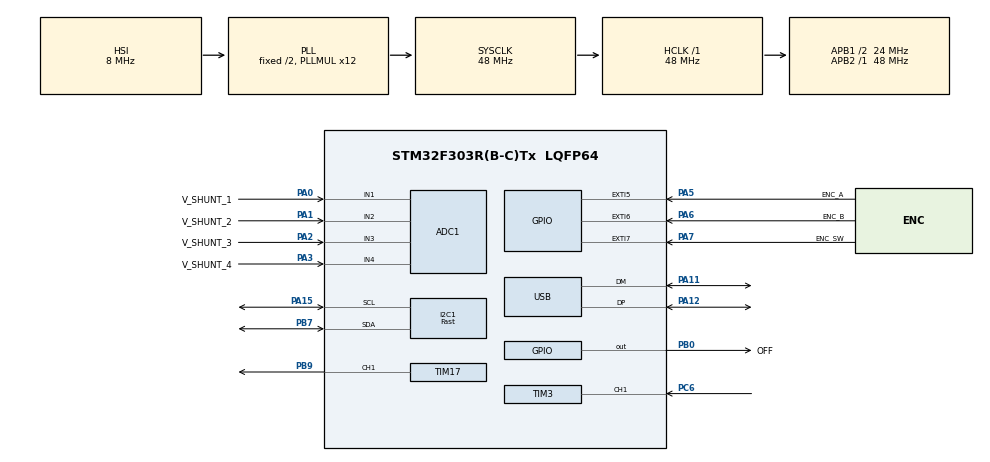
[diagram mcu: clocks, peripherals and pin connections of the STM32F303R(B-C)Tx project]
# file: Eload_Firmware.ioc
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ADC1.Channel-0\#ChannelRegularConversion=ADC_CHANNEL_1
ADC1.Channel-1\#ChannelRegularConversion=ADC_CHANNEL_2
ADC1.Channel-2\#ChannelRegularConversion=ADC_CHANNEL_3
ADC1.Channel-3\#ChannelRegularConversion=ADC_CHANNEL_4
ADC1.ExternalTrigConv=ADC_EXTERNALTRIGCONV_T6_TRGO
ADC1.NbrOfConversion=4
ADC1.NbrOfConversionFlag=1
ADC1.Offset-0\#ChannelRegularConversion=0
ADC1.Offset-1\#ChannelRegularConversion=0
ADC1.Offset-2\#ChannelRegularConversion=0
ADC1.Offset-3\#ChannelRegularConversion=0
ADC1.OffsetNumber-0\#ChannelRegularConversion=ADC_OFFSET_NONE
ADC1.OffsetNumber-1\#ChannelRegularConversion=ADC_OFFSET_NONE
ADC1.OffsetNumber-2\#ChannelRegularConversion=ADC_OFFSET_NONE
ADC1.OffsetNumber-3\#ChannelRegularConversion=ADC_OFFSET_NONE
ADC1.Rank-0\#ChannelRegularConversion=1
ADC1.Rank-1\#ChannelRegularConversion=2
ADC1.Rank-2\#ChannelRegularConversion=3
ADC1.Rank-3\#ChannelRegularConversion=4
ADC1.SamplingTime-0\#ChannelRegularConversion=ADC_SAMPLETIME_181CYCLES_5
ADC1.SamplingTime-1\#ChannelRegularConversion=ADC_SAMPLETIME_181CYCLES_5
ADC1.SamplingTime-2\#ChannelRegularConversion=ADC_SAMPLETIME_181CYCLES_5
ADC1.SamplingTime-3\#ChannelRegularConversion=ADC_SAMPLETIME_181CYCLES_5
ADC1.SamplingTimeOPAMP-1\#ChannelRegularConversion=ADC_SAMPLETIME_19CYCLES_5
ADC1.SamplingTimeOPAMP-2\#ChannelRegularConversion=ADC_SAMPLETIME_19CYCLES_5
ADC1.SamplingTimeOPAMP-3\#ChannelRegularConversion=ADC_SAMPLETIME_19CYCLES_5
ADC1.master=1
Dma.ADC1.0.Direction=DMA_PERIPH_TO_MEMORY
Dma.ADC1.0.Instance=DMA1_Channel1
Dma.ADC1.0.MemDataAlignment=DMA_MDATAALIGN_HALFWORD
Dma.ADC1.0.MemInc=DMA_MINC_ENABLE
Dma.ADC1.0.Mode=DMA_CIRCULAR
Dma.ADC1.0.PeriphDataAlignment=DMA_PDATAALIGN_HALFWORD
Dma.ADC1.0.PeriphInc=DMA_PINC_DISABLE
Dma.ADC1.0.Priority=DMA_PRIORITY_LOW
Dma.Request0=ADC1
I2C1.I2C_Speed_Mode=I2C_Fast
I2C1.Timing=0x0010020A
Mcu.Family=STM32F3
Mcu.Name=STM32F303R(B-C)Tx
Mcu.Package=LQFP64
NVIC.ADC1_2_IRQn=true\:0\:0\:false\:false\:true\:true\:true\:true
NVIC.DMA1_Channel1_IRQn=true\:0\:0\:false\:false\:true\:false\:true\:true
NVIC.EXTI9_5_IRQn=true\:0\:0\:false\:false\:true\:true\:true\:true
NVIC.I2C1_EV_IRQn=true\:0\:0\:false\:false\:true\:true\:true\:true
NVIC.PriorityGroup=NVIC_PRIORITYGROUP_4
NVIC.TIM3_IRQn=true\:0\:0\:false\:false\:true\:true\:true\:true
NVIC.USB_LP_CAN_RX0_IRQn=true\:0\:0\:false\:false\:true\:false\:true\:true
PA0.GPIO_Label=V_SHUNT_1
PA0.Mode=IN1-Single-Ended
PA0.Signal=ADC1_IN1
PA1.GPIO_Label=V_SHUNT_2
PA1.Mode=IN2-Single-Ended
PA1.Signal=ADC1_IN2
PA11.Mode=Device
PA11.Signal=USB_DM
PA12.Mode=Device
PA12.Signal=USB_DP
PA13.Mode=Serial_Wire
PA13.Signal=SYS_JTMS-SWDIO
PA14.Mode=Serial_Wire
PA14.Signal=SYS_JTCK-SWCLK
PA15.Mode=I2C
PA15.Signal=I2C1_SCL
PA2.GPIO_Label=V_SHUNT_3
PA2.Mode=IN3-Single-Ended
PA2.Signal=ADC1_IN3
PA3.GPIO_Label=V_SHUNT_4
PA3.Mode=IN4-Single-Ended
PA3.Signal=ADC1_IN4
PA5.GPIO_Label=ENC_A
PA5.GPIO_PuPd=GPIO_PULLUP
PA5.Signal=GPXTI5
PA6.GPIO_Label=ENC_B
PA6.GPIO_PuPd=GPIO_PULLUP
PA6.Signal=GPXTI6
PA7.GPIO_Label=ENC_SW
PA7.GPIO_PuPd=GPIO_PULLUP
PA7.Signal=GPXTI7
PB0.GPIO_Label=OFF
PB0.GPIO_PuPd=GPIO_NOPULL
PB0.PinState=GPIO_PIN_SET
PB0.Signal=GPIO_Output
PB7.Mode=I2C
PB7.Signal=I2C1_SDA
PB9.Signal=S_TIM17_CH1
PC6.Signal=S_TIM3_CH1
PF0-OSC_IN.Mode=HSE-External-Oscillator
PF0-OSC_IN.Signal=RCC_OSC_IN
PF1-OSC_OUT.Mode=HSE-External-Oscillator
PF1-OSC_OUT.Signal=RCC_OSC_OUT
ProjectManager.HeapSize=0x200
ProjectManager.StackSize=0x400
ProjectManager.TargetToolchain=STM32CubeIDE
RCC.AHBFreq_Value=48000000
RCC.APB1CLKDivider=RCC_HCLK_DIV2
RCC.APB1Freq_Value=24000000
RCC.APB1TimFreq_Value=48000000
RCC.APB2Freq_Value=48000000
RCC.APB2TimFreq_Value=48000000
RCC.CortexFreq_Value=48000000
RCC.HCLKFreq_Value=48000000
RCC.HSE_VALUE=25000000
RCC.HSI_VALUE=8000000
RCC.LSE_VALUE=32768
RCC.PLLMUL=RCC_PLL_MUL12
RCC.PLLSourceVirtualString=RCC_PLLSOURCE_HSI
RCC.RCC_PLLsource_Clock_Source_FROM_HSE=RCC_HSE_PREDIV_DIV2
RCC.SYSCLKFreq_VALUE=48000000
RCC.SYSCLKSourceVirtual=RCC_SYSCLKSOURCE_PLLCLK
RCC.USBFreq_Value=48000000
SH.S_TIM17_CH1.0=TIM17_CH1,PWM Generation1 CH1
SH.S_TIM3_CH1.0=TIM3_CH1,Input_Capture1_from_TI1
TIM17.Channel=TIM_CHANNEL_1
TIM17.Period=1919
TIM3.Channel-Input_Capture1_from_TI1=TIM_CHANNEL_1
TIM3.Prescaler=47
TIM6.Period=999
TIM6.Prescaler=47
TIM6.TIM_MasterOutputTrigger=TIM_TRGO_UPDATE
USB_DEVICE.CLASS_NAME_FS=CDC
USB_DEVICE.VirtualMode=Cdc
USB_DEVICE.VirtualModeFS=Cdc_FS
VP_TIM17_VS_ClockSourceINT.Mode=Enable_Timer
VP_TIM6_VS_ClockSourceINT.Mode=Enable_Timer
VP_USB_DEVICE_VS_USB_DEVICE_CDC_FS.Mode=CDC_FS
board=custom

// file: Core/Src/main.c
/* USER CODE BEGIN Header */
/**
  ******************************************************************************
  * @file           : main.c
  * @brief          : Main program body
  ******************************************************************************
  * @attention
  *
  * Copyright (c) 2026 STMicroelectronics.
  * All rights reserved.
  *
  * This software is licensed under terms that can be found in the LICENSE file
  * in the root directory of this software component.
  * If no LICENSE file comes with this software, it is provided AS-IS.
  *
  ******************************************************************************
  */
/* USER CODE END Header */
#include "main.h"
#include "usb_device.h"

/* USER CODE BEGIN Includes */
#include "usbd_cdc_if.h"
#include <string.h>
#include <stdio.h>
/* USER CODE END Includes */

/* USER CODE BEGIN PD */
#define ADC_BUF_LEN      4
#define MCP4725_ADDR     (0x60 << 1)
#define VREF             3.3f
#define ADC_MAX          4095.0f
#define R_SHUNT          0.001f
#define CMD_BUF_LEN      64
/* USER CODE END PD */

ADC_HandleTypeDef hadc1;
DMA_HandleTypeDef hdma_adc1;

I2C_HandleTypeDef hi2c1;

TIM_HandleTypeDef htim3;
TIM_HandleTypeDef htim6;
TIM_HandleTypeDef htim17;

/* USER CODE BEGIN PV */
volatile uint16_t adc_buf[ADC_BUF_LEN];
volatile uint8_t adc_fresh = 0;

uint8_t cmd_buf[CMD_BUF_LEN];
uint8_t cmd_len = 0;
uint8_t cmd_ready = 0;

volatile int32_t encoder_count = 0;
volatile uint8_t encoder_btn = 0;

uint16_t dac_setpoint = 0;

static char tx_buf[256];
/* USER CODE END PV */

void SystemClock_Config(void);
static void MX_GPIO_Init(void);
static void MX_DMA_Init(void);
static void MX_ADC1_Init(void);
static void MX_I2C1_Init(void);
static void MX_TIM3_Init(void);
static void MX_TIM6_Init(void);
static void MX_TIM17_Init(void);
/* USER CODE BEGIN PFP */
static void USB_Print(const char *str);
static void MCP4725_Write(uint16_t value);
static void Process_Command(char *cmd);
static void Print_Status(void);
static void Set_Fan_Duty(uint8_t percent);
/* USER CODE END PFP */

int main(void)
{

  /* MCU Configuration--------------------------------------------------------*/

  /* Reset of all peripherals, Initializes the Flash interface and the Systick. */
  HAL_Init();

  /* Configure the system clock */
  SystemClock_Config();

  /* Initialize all configured peripherals */
  MX_GPIO_Init();
  MX_DMA_Init();
  MX_ADC1_Init();
  MX_I2C1_Init();
  MX_USB_DEVICE_Init();
  MX_TIM3_Init();
  MX_TIM6_Init();
  MX_TIM17_Init();
  /* USER CODE BEGIN 2 */

  HAL_ADCEx_Calibration_Start(&hadc1, ADC_SINGLE_ENDED);
  HAL_ADC_Start_DMA(&hadc1, (uint32_t *)adc_buf, ADC_BUF_LEN);

  HAL_TIM_Base_Start(&htim6);
  HAL_TIM_IC_Start_IT(&htim3, TIM_CHANNEL_1);
  HAL_TIM_PWM_Start(&htim17, TIM_CHANNEL_1);

  HAL_GPIO_WritePin(OFF_GPIO_Port, OFF_Pin, GPIO_PIN_SET);
  MCP4725_Write(0);

  HAL_Delay(1000);
  USB_Print("\r\n=== Electronic Load v0.1 ===\r\n");
  USB_Print("Type 'help' for commands\r\n> ");

  /* USER CODE END 2 */

  /* Infinite loop */
  while (1)
  {

    /* USER CODE BEGIN 3 */

    if (cmd_ready)
    {
      cmd_buf[cmd_len] = '\0';
      Process_Command((char *)cmd_buf);
      cmd_len = 0;
      cmd_ready = 0;
      USB_Print("> ");
    }

    // Heartbeat — print status every 2 seconds so you know it's alive
    static uint32_t last_print = 0;
    if (HAL_GetTick() - last_print >= 2000)
    {
      last_print = HAL_GetTick();
      snprintf(tx_buf, sizeof(tx_buf),
        "[%lu] ADC: %u %u %u %u  DAC: %u  Load: %s\r\n",
        HAL_GetTick() / 1000,
        adc_buf[0], adc_buf[1], adc_buf[2], adc_buf[3],
        dac_setpoint,
        (HAL_GPIO_ReadPin(OFF_GPIO_Port, OFF_Pin) == GPIO_PIN_SET) ? "OFF" : "ON"
      );
      USB_Print(tx_buf);
    }

    HAL_Delay(10);
  }
  /* USER CODE END 3 */
}

void SystemClock_Config(void)
{
  RCC_OscInitTypeDef RCC_OscInitStruct = {0};
  RCC_ClkInitTypeDef RCC_ClkInitStruct = {0};
  RCC_PeriphCLKInitTypeDef PeriphClkInit = {0};

  RCC_OscInitStruct.OscillatorType = RCC_OSCILLATORTYPE_HSI;
  RCC_OscInitStruct.HSIState = RCC_HSI_ON;
  RCC_OscInitStruct.HSICalibrationValue = RCC_HSICALIBRATION_DEFAULT;
  RCC_OscInitStruct.PLL.PLLState = RCC_PLL_ON;
  RCC_OscInitStruct.PLL.PLLSource = RCC_PLLSOURCE_HSI;
  RCC_OscInitStruct.PLL.PLLMUL = RCC_PLL_MUL12;
  if (HAL_RCC_OscConfig(&RCC_OscInitStruct) != HAL_OK)
  {
    Error_Handler();
  }

  RCC_ClkInitStruct.ClockType = RCC_CLOCKTYPE_HCLK|RCC_CLOCKTYPE_SYSCLK
                              |RCC_CLOCKTYPE_PCLK1|RCC_CLOCKTYPE_PCLK2;
  RCC_ClkInitStruct.SYSCLKSource = RCC_SYSCLKSOURCE_PLLCLK;
  RCC_ClkInitStruct.AHBCLKDivider = RCC_SYSCLK_DIV1;
  RCC_ClkInitStruct.APB1CLKDivider = RCC_HCLK_DIV2;
  RCC_ClkInitStruct.APB2CLKDivider = RCC_HCLK_DIV1;

  if (HAL_RCC_ClockConfig(&RCC_ClkInitStruct, FLASH_LATENCY_1) != HAL_OK)
  {
    Error_Handler();
  }
  PeriphClkInit.PeriphClockSelection = RCC_PERIPHCLK_USB|RCC_PERIPHCLK_I2C1
                              |RCC_PERIPHCLK_ADC12;
  PeriphClkInit.Adc12ClockSelection = RCC_ADC12PLLCLK_DIV1;
  PeriphClkInit.I2c1ClockSelection = RCC_I2C1CLKSOURCE_HSI;
  PeriphClkInit.USBClockSelection = RCC_USBCLKSOURCE_PLL;
  if (HAL_RCCEx_PeriphCLKConfig(&PeriphClkInit) != HAL_OK)
  {
    Error_Handler();
  }
}

static void MX_ADC1_Init(void)
{

  ADC_MultiModeTypeDef multimode = {0};
  ADC_ChannelConfTypeDef sConfig = {0};

  hadc1.Instance = ADC1;
  hadc1.Init.ClockPrescaler = ADC_CLOCK_ASYNC_DIV1;
  hadc1.Init.Resolution = ADC_RESOLUTION_12B;
  hadc1.Init.ScanConvMode = ADC_SCAN_ENABLE;
  hadc1.Init.ContinuousConvMode = DISABLE;
  hadc1.Init.DiscontinuousConvMode = DISABLE;
  hadc1.Init.ExternalTrigConvEdge = ADC_EXTERNALTRIGCONVEDGE_RISING;
  hadc1.Init.ExternalTrigConv = ADC_EXTERNALTRIGCONV_T6_TRGO;
  hadc1.Init.DataAlign = ADC_DATAALIGN_RIGHT;
  hadc1.Init.NbrOfConversion = 4;
  hadc1.Init.DMAContinuousRequests = DISABLE;
  hadc1.Init.EOCSelection = ADC_EOC_SINGLE_CONV;
  hadc1.Init.LowPowerAutoWait = DISABLE;
  hadc1.Init.Overrun = ADC_OVR_DATA_OVERWRITTEN;
  if (HAL_ADC_Init(&hadc1) != HAL_OK)
  {
    Error_Handler();
  }

  multimode.Mode = ADC_MODE_INDEPENDENT;
  if (HAL_ADCEx_MultiModeConfigChannel(&hadc1, &multimode) != HAL_OK)
  {
    Error_Handler();
  }

  sConfig.Channel = ADC_CHANNEL_1;
  sConfig.Rank = ADC_REGULAR_RANK_1;
  sConfig.SingleDiff = ADC_SINGLE_ENDED;
  sConfig.SamplingTime = ADC_SAMPLETIME_181CYCLES_5;
  sConfig.OffsetNumber = ADC_OFFSET_NONE;
  sConfig.Offset = 0;
  if (HAL_ADC_ConfigChannel(&hadc1, &sConfig) != HAL_OK)
  {
    Error_Handler();
  }

  sConfig.Channel = ADC_CHANNEL_2;
  sConfig.Rank = ADC_REGULAR_RANK_2;
  if (HAL_ADC_ConfigChannel(&hadc1, &sConfig) != HAL_OK)
  {
    Error_Handler();
  }

  sConfig.Channel = ADC_CHANNEL_3;
  sConfig.Rank = ADC_REGULAR_RANK_3;
  if (HAL_ADC_ConfigChannel(&hadc1, &sConfig) != HAL_OK)
  {
    Error_Handler();
  }

  sConfig.Channel = ADC_CHANNEL_4;
  sConfig.Rank = ADC_REGULAR_RANK_4;
  if (HAL_ADC_ConfigChannel(&hadc1, &sConfig) != HAL_OK)
  {
    Error_Handler();
  }

}

static void MX_I2C1_Init(void)
{

  hi2c1.Instance = I2C1;
  hi2c1.Init.Timing = 0x0010020A;
  hi2c1.Init.OwnAddress1 = 0;
  hi2c1.Init.AddressingMode = I2C_ADDRESSINGMODE_7BIT;
  hi2c1.Init.DualAddressMode = I2C_DUALADDRESS_DISABLE;
  hi2c1.Init.OwnAddress2 = 0;
  hi2c1.Init.OwnAddress2Masks = I2C_OA2_NOMASK;
  hi2c1.Init.GeneralCallMode = I2C_GENERALCALL_DISABLE;
  hi2c1.Init.NoStretchMode = I2C_NOSTRETCH_DISABLE;
  if (HAL_I2C_Init(&hi2c1) != HAL_OK)
  {
    Error_Handler();
  }

  if (HAL_I2CEx_ConfigAnalogFilter(&hi2c1, I2C_ANALOGFILTER_ENABLE) != HAL_OK)
  {
    Error_Handler();
  }

  if (HAL_I2CEx_ConfigDigitalFilter(&hi2c1, 0) != HAL_OK)
  {
    Error_Handler();
  }

}

static void MX_TIM3_Init(void)
{

  TIM_MasterConfigTypeDef sMasterConfig = {0};
  TIM_IC_InitTypeDef sConfigIC = {0};

  htim3.Instance = TIM3;
  htim3.Init.Prescaler = 47;
  htim3.Init.CounterMode = TIM_COUNTERMODE_UP;
  htim3.Init.Period = 65535;
  htim3.Init.ClockDivision = TIM_CLOCKDIVISION_DIV1;
  htim3.Init.AutoReloadPreload = TIM_AUTORELOAD_PRELOAD_DISABLE;
  if (HAL_TIM_IC_Init(&htim3) != HAL_OK)
  {
    Error_Handler();
  }
  sMasterConfig.MasterOutputTrigger = TIM_TRGO_RESET;
  sMasterConfig.MasterSlaveMode = TIM_MASTERSLAVEMODE_DISABLE;
  if (HAL_TIMEx_MasterConfigSynchronization(&htim3, &sMasterConfig) != HAL_OK)
  {
    Error_Handler();
  }
  sConfigIC.ICPolarity = TIM_INPUTCHANNELPOLARITY_RISING;
  sConfigIC.ICSelection = TIM_ICSELECTION_DIRECTTI;
  sConfigIC.ICPrescaler = TIM_ICPSC_DIV1;
  sConfigIC.ICFilter = 0;
  if (HAL_TIM_IC_ConfigChannel(&htim3, &sConfigIC, TIM_CHANNEL_1) != HAL_OK)
  {
    Error_Handler();
  }

}

static void MX_TIM6_Init(void)
{

  TIM_MasterConfigTypeDef sMasterConfig = {0};

  htim6.Instance = TIM6;
  htim6.Init.Prescaler = 47;
  htim6.Init.CounterMode = TIM_COUNTERMODE_UP;
  htim6.Init.Period = 999;
  htim6.Init.AutoReloadPreload = TIM_AUTORELOAD_PRELOAD_DISABLE;
  if (HAL_TIM_Base_Init(&htim6) != HAL_OK)
  {
    Error_Handler();
  }
  sMasterConfig.MasterOutputTrigger = TIM_TRGO_UPDATE;
  sMasterConfig.MasterSlaveMode = TIM_MASTERSLAVEMODE_DISABLE;
  if (HAL_TIMEx_MasterConfigSynchronization(&htim6, &sMasterConfig) != HAL_OK)
  {
    Error_Handler();
  }

}

static void MX_TIM17_Init(void)
{

  TIM_OC_InitTypeDef sConfigOC = {0};
  TIM_BreakDeadTimeConfigTypeDef sBreakDeadTimeConfig = {0};

  htim17.Instance = TIM17;
  htim17.Init.Prescaler = 0;
  htim17.Init.CounterMode = TIM_COUNTERMODE_UP;
  htim17.Init.Period = 1919;
  htim17.Init.ClockDivision = TIM_CLOCKDIVISION_DIV1;
  htim17.Init.RepetitionCounter = 0;
  htim17.Init.AutoReloadPreload = TIM_AUTORELOAD_PRELOAD_DISABLE;
  if (HAL_TIM_Base_Init(&htim17) != HAL_OK)
  {
    Error_Handler();
  }
  if (HAL_TIM_PWM_Init(&htim17) != HAL_OK)
  {
    Error_Handler();
  }
  sConfigOC.OCMode = TIM_OCMODE_PWM1;
  sConfigOC.Pulse = 0;
  sConfigOC.OCPolarity = TIM_OCPOLARITY_HIGH;
  sConfigOC.OCNPolarity = TIM_OCNPOLARITY_HIGH;
  sConfigOC.OCFastMode = TIM_OCFAST_DISABLE;
  sConfigOC.OCIdleState = TIM_OCIDLESTATE_RESET;
  sConfigOC.OCNIdleState = TIM_OCNIDLESTATE_RESET;
  if (HAL_TIM_PWM_ConfigChannel(&htim17, &sConfigOC, TIM_CHANNEL_1) != HAL_OK)
  {
    Error_Handler();
  }
  sBreakDeadTimeConfig.OffStateRunMode = TIM_OSSR_DISABLE;
  sBreakDeadTimeConfig.OffStateIDLEMode = TIM_OSSI_DISABLE;
  sBreakDeadTimeConfig.LockLevel = TIM_LOCKLEVEL_OFF;
  sBreakDeadTimeConfig.DeadTime = 0;
  sBreakDeadTimeConfig.BreakState = TIM_BREAK_DISABLE;
  sBreakDeadTimeConfig.BreakPolarity = TIM_BREAKPOLARITY_HIGH;
  sBreakDeadTimeConfig.BreakFilter = 0;
  sBreakDeadTimeConfig.AutomaticOutput = TIM_AUTOMATICOUTPUT_DISABLE;
  if (HAL_TIMEx_ConfigBreakDeadTime(&htim17, &sBreakDeadTimeConfig) != HAL_OK)
  {
    Error_Handler();
  }
  HAL_TIM_MspPostInit(&htim17);

}

static void MX_DMA_Init(void)
{

  /* DMA controller clock enable */
  __HAL_RCC_DMA1_CLK_ENABLE();

  /* DMA interrupt init */
  /* DMA1_Channel1_IRQn interrupt configuration */
  HAL_NVIC_SetPriority(DMA1_Channel1_IRQn, 0, 0);
  HAL_NVIC_EnableIRQ(DMA1_Channel1_IRQn);

}

static void MX_GPIO_Init(void)
{
  GPIO_InitTypeDef GPIO_InitStruct = {0};

  /* GPIO Ports Clock Enable */
  __HAL_RCC_GPIOF_CLK_ENABLE();
  __HAL_RCC_GPIOA_CLK_ENABLE();
  __HAL_RCC_GPIOB_CLK_ENABLE();
  __HAL_RCC_GPIOC_CLK_ENABLE();

  /*Configure GPIO pin Output Level */
  HAL_GPIO_WritePin(OFF_GPIO_Port, OFF_Pin, GPIO_PIN_SET);

  /*Configure GPIO pins : ENC_A_Pin ENC_B_Pin ENC_SW_Pin */
  GPIO_InitStruct.Pin = ENC_A_Pin|ENC_B_Pin|ENC_SW_Pin;
  GPIO_InitStruct.Mode = GPIO_MODE_IT_RISING;
  GPIO_InitStruct.Pull = GPIO_PULLUP;
  HAL_GPIO_Init(GPIOA, &GPIO_InitStruct);

  /*Configure GPIO pin : OFF_Pin */
  GPIO_InitStruct.Pin = OFF_Pin;
  GPIO_InitStruct.Mode = GPIO_MODE_OUTPUT_PP;
  GPIO_InitStruct.Pull = GPIO_NOPULL;
  GPIO_InitStruct.Speed = GPIO_SPEED_FREQ_LOW;
  HAL_GPIO_Init(OFF_GPIO_Port, &GPIO_InitStruct);

  /* EXTI interrupt init*/
  HAL_NVIC_SetPriority(EXTI9_5_IRQn, 0, 0);
  HAL_NVIC_EnableIRQ(EXTI9_5_IRQn);

}

/* USER CODE BEGIN 4 */

static void USB_Print(const char *str)
{
  CDC_Transmit_FS((uint8_t *)str, strlen(str));
  HAL_Delay(1);
}

static void MCP4725_Write(uint16_t value)
{
  if (value > 4095) value = 4095;
  uint8_t buf[2];
  buf[0] = (value >> 8) & 0x0F;
  buf[1] = value & 0xFF;
  HAL_I2C_Master_Transmit(&hi2c1, MCP4725_ADDR, buf, 2, 100);
}

static void Set_Fan_Duty(uint8_t percent)
{
  if (percent > 100) percent = 100;
  uint32_t pulse = (htim17.Init.Period + 1) * percent / 100;
  __HAL_TIM_SET_COMPARE(&htim17, TIM_CHANNEL_1, pulse);
  snprintf(tx_buf, sizeof(tx_buf), "Fan: %u%%\r\n", percent);
  USB_Print(tx_buf);
}

static void Print_Status(void)
{
  float v[4];
  for (int i = 0; i < 4; i++)
  {
    v[i] = ((float)adc_buf[i] / ADC_MAX) * VREF;
  }

  snprintf(tx_buf, sizeof(tx_buf),
    "--- Status ---\r\n"
    "V_SHUNT_1: %6.4f V  (raw: %u)\r\n"
    "V_SHUNT_2: %6.4f V  (raw: %u)\r\n"
    "V_SHUNT_3: %6.4f V  (raw: %u)\r\n"
    "V_SHUNT_4: %6.4f V  (raw: %u)\r\n"
    "DAC set:   %u / 4095\r\n"
    "Encoder:   %ld\r\n"
    "Load:      %s\r\n",
    v[0], adc_buf[0],
    v[1], adc_buf[1],
    v[2], adc_buf[2],
    v[3], adc_buf[3],
    dac_setpoint,
    encoder_count,
    (HAL_GPIO_ReadPin(OFF_GPIO_Port, OFF_Pin) == GPIO_PIN_SET) ? "OFF" : "ON"
  );
  USB_Print(tx_buf);
}

static void Process_Command(char *cmd)
{
  char *p = cmd;
  while (*p) { if (*p == '\r' || *p == '\n') { *p = '\0'; break; } p++; }

  if (strlen(cmd) == 0) return;

  if (strcmp(cmd, "help") == 0)
  {
    USB_Print(
      "Commands:\r\n"
      "  status       - Read ADC + show system state\r\n"
      "  on           - Enable load (gates ON)\r\n"
      "  off          - Disable load (gates OFF)\r\n"
      "  set <0-4095> - Set DAC value (I_SET)\r\n"
      "  fan <0-100>  - Set fan duty %\r\n"
      "  enc          - Read encoder count\r\n"
      "  help         - This message\r\n"
    );
  }
  else if (strcmp(cmd, "status") == 0)
  {
    Print_Status();
  }
  else if (strcmp(cmd, "on") == 0)
  {
    HAL_GPIO_WritePin(OFF_GPIO_Port, OFF_Pin, GPIO_PIN_RESET);
    USB_Print("Load ENABLED\r\n");
  }
  else if (strcmp(cmd, "off") == 0)
  {
    HAL_GPIO_WritePin(OFF_GPIO_Port, OFF_Pin, GPIO_PIN_SET);
    MCP4725_Write(0);
    dac_setpoint = 0;
    USB_Print("Load DISABLED\r\n");
  }
  else if (strncmp(cmd, "set ", 4) == 0)
  {
    int val = 0;
    if (sscanf(cmd + 4, "%d", &val) == 1 && val >= 0 && val <= 4095)
    {
      dac_setpoint = (uint16_t)val;
      MCP4725_Write(dac_setpoint);
      snprintf(tx_buf, sizeof(tx_buf), "DAC set to %u (%.3f V)\r\n",
        dac_setpoint, (dac_setpoint / 4095.0f) * VREF);
      USB_Print(tx_buf);
    }
    else
    {
      USB_Print("Usage: set <0-4095>\r\n");
    }
  }
  else if (strncmp(cmd, "fan ", 4) == 0)
  {
    int val = 0;
    if (sscanf(cmd + 4, "%d", &val) == 1 && val >= 0 && val <= 100)
    {
      Set_Fan_Duty((uint8_t)val);
    }
    else
    {
      USB_Print("Usage: fan <0-100>\r\n");
    }
  }
  else if (strcmp(cmd, "enc") == 0)
  {
    snprintf(tx_buf, sizeof(tx_buf), "Encoder count: %ld  Button: %u\r\n",
      encoder_count, encoder_btn);
    USB_Print(tx_buf);
    encoder_btn = 0;
  }
  else
  {
    snprintf(tx_buf, sizeof(tx_buf), "Unknown: '%s' — type 'help'\r\n", cmd);
    USB_Print(tx_buf);
  }
}

void HAL_GPIO_EXTI_Callback(uint16_t GPIO_Pin)
{
  if (GPIO_Pin == ENC_A_Pin)
  {
    if (HAL_GPIO_ReadPin(ENC_B_GPIO_Port, ENC_B_Pin) == GPIO_PIN_SET)
      encoder_count++;
    else
      encoder_count--;
  }
  else if (GPIO_Pin == ENC_SW_Pin)
  {
    encoder_btn = 1;
  }
}

void HAL_ADC_ConvCpltCallback(ADC_HandleTypeDef *hadc)
{
  if (hadc->Instance == ADC1)
  {
    adc_fresh = 1;
  }
}

/* USER CODE END 4 */

void Error_Handler(void)
{
  __disable_irq();
  while (1)
  {
  }
}
